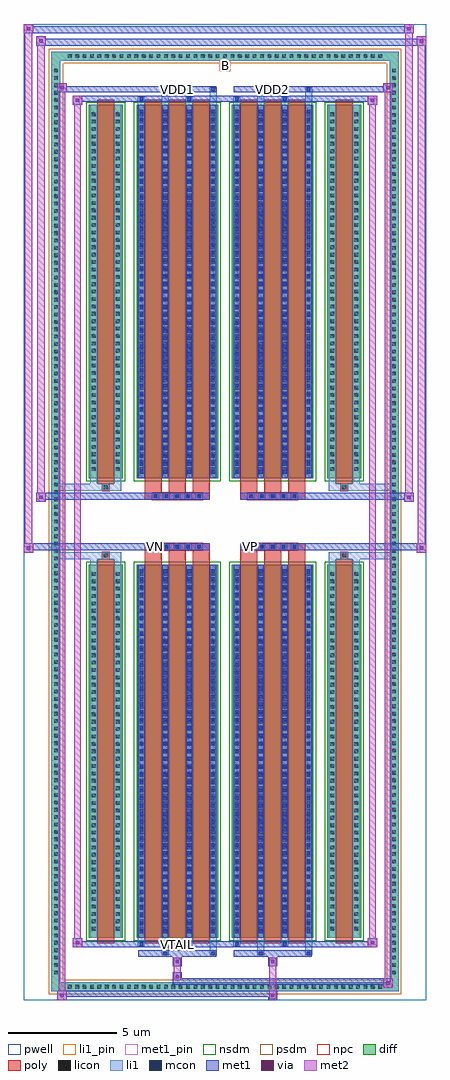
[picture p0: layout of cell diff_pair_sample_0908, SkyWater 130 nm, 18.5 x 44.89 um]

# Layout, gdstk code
import gdstk
lib = gdstk.Library(unit=1e-6, precision=5e-09)
def R(c, l, rs):  # rectangles x0, y0, x1, y1
    for r in rs: c.add(gdstk.rectangle(r[:2], r[2:], *l))
def A(c, l, x, y, w, h, nx, ny, dx, dy):  # array of equal rectangles
    R(c, l, [(x+i*dx, y+j*dy, x+i*dx+w, y+j*dy+h) for i in range(nx) for j in range(ny)])
def P(c, l, *ps):  # polygons
    for p in ps: c.add(gdstk.Polygon(p, *l))
pwell = (64, 44)
diff = (65, 20)
poly = (66, 20)
licon = (66, 44)
li1_pin = (67, 16)
li1 = (67, 20)
mcon = (67, 44)
met1_pin = (68, 16)
met1 = (68, 20)
via = (68, 44)
met2 = (69, 20)
nsdm = (93, 44)
psdm = (94, 20)
npc = (95, 20)

diff_pair_sample_0908 = lib.new_cell('diff_pair_sample_0908')
R(diff_pair_sample_0908, pwell, [(-9.25,-22.01,9.25,22.88), (-6.57,-20.2,-0.01,-0.8), (0.01,-20.2,6.57,-0.8), (-6.57,0.8,-0.01,20.2), (0.01,0.8,6.57,20.2)])
A(diff_pair_sample_0908, diff, -7.345, -21.61, 0.41, 0.41, 43, 2, 0.34, 42.81)
A(diff_pair_sample_0908, diff, -7.98, -20.945, 0.41, 0.41, 1, 123, 0, 0.34)
A(diff_pair_sample_0908, diff, 7.57, -20.945, 0.41, 0.41, 1, 123, 0, 0.34)
R(diff_pair_sample_0908, diff, [(-7.345,-21.61,7.345,-21.2), (-7.98,-20.945,-7.57,20.945), (7.57,-20.945,7.98,20.945), (-6.26,-19.155,-4.71,-1.985), (-4.07,-19.155,-0.32,-1.985), (0.32,-19.155,4.07,-1.985), (4.71,-19.155,6.26,-1.985), (-6.26,1.985,-4.71,19.155), (-4.07,1.985,-0.32,19.155), (0.32,1.985,4.07,19.155), (4.71,1.985,6.26,19.155), (-7.345,21.2,7.345,21.61)])
P(diff_pair_sample_0908, diff, [(7.98,21.61),(-7.98,21.61),(-7.98,-21.2),(-7.57,-21.2),(-7.57,21.2),(7.57,21.2),(7.57,-21.2),(-7.57,-21.2),(-7.98,-21.2),(-7.98,-21.61),(7.98,-21.61)])
A(diff_pair_sample_0908, poly, -3.68, -19.405, 0.77, 17.67, 3, 2, 1.1, 21.14)
A(diff_pair_sample_0908, poly, 0.71, -19.405, 0.77, 17.67, 3, 2, 1.1, 21.14)
A(diff_pair_sample_0908, poly, -3.68, -1.735, 0.77, 0.405, 3, 2, 1.1, 3.065)
A(diff_pair_sample_0908, poly, 0.71, -1.735, 0.77, 0.405, 3, 2, 1.1, 3.065)
A(diff_pair_sample_0908, poly, -3.36, -1.33, 0.33, 0.33, 5, 2, 0.5, 2.33)
A(diff_pair_sample_0908, poly, 1.03, -1.33, 0.33, 0.33, 5, 2, 0.5, 2.33)
R(diff_pair_sample_0908, poly, [(-5.87,-19.405,-5.1,-1.735), (5.1,-19.405,5.87,-1.735), (-5.65,-1.735,-5.32,-1.405), (-5.65,-1.735,-5.32,-1.405), (5.32,-1.735,5.65,-1.405), (5.32,-1.735,5.65,-1.405), (-3.68,-1.33,-0.71,-1), (0.71,-1.33,3.68,-1), (-3.68,1,-0.71,1.33), (0.71,1,3.68,1.33), (-5.65,1.405,-5.32,1.735), (-5.65,1.405,-5.32,1.735), (5.32,1.405,5.65,1.735), (5.32,1.405,5.65,1.735), (-5.87,1.735,-5.1,19.405), (5.1,1.735,5.87,19.405)])
A(diff_pair_sample_0908, licon, -7.225, -21.49, 0.17, 0.17, 43, 2, 0.34, 42.81)
A(diff_pair_sample_0908, licon, -7.86, -20.825, 0.17, 0.17, 1, 123, 0, 0.34)
A(diff_pair_sample_0908, licon, 7.69, -20.825, 0.17, 0.17, 1, 123, 0, 0.34)
A(diff_pair_sample_0908, licon, -6.12, -18.815, 0.17, 0.17, 1, 49, 0, 0.34)
A(diff_pair_sample_0908, licon, -5.02, -18.815, 0.17, 0.17, 1, 49, 0, 0.34)
A(diff_pair_sample_0908, licon, -3.93, -18.815, 0.17, 0.17, 4, 49, 1.1, 0.34)
A(diff_pair_sample_0908, licon, 0.46, -18.815, 0.17, 0.17, 4, 49, 1.1, 0.34)
A(diff_pair_sample_0908, licon, 4.85, -18.815, 0.17, 0.17, 1, 49, 0, 0.34)
A(diff_pair_sample_0908, licon, 5.95, -18.815, 0.17, 0.17, 1, 49, 0, 0.34)
A(diff_pair_sample_0908, licon, -3.28, -1.25, 0.17, 0.17, 5, 2, 0.5, 2.33)
A(diff_pair_sample_0908, licon, 1.11, -1.25, 0.17, 0.17, 5, 2, 0.5, 2.33)
A(diff_pair_sample_0908, licon, -6.12, 2.325, 0.17, 0.17, 1, 49, 0, 0.34)
A(diff_pair_sample_0908, licon, -5.02, 2.325, 0.17, 0.17, 1, 49, 0, 0.34)
A(diff_pair_sample_0908, licon, -3.93, 2.325, 0.17, 0.17, 4, 49, 1.1, 0.34)
A(diff_pair_sample_0908, licon, 0.46, 2.325, 0.17, 0.17, 4, 49, 1.1, 0.34)
A(diff_pair_sample_0908, licon, 4.85, 2.325, 0.17, 0.17, 1, 49, 0, 0.34)
A(diff_pair_sample_0908, licon, 5.95, 2.325, 0.17, 0.17, 1, 49, 0, 0.34)
R(diff_pair_sample_0908, licon, [(-5.57,-1.655,-5.4,-1.485), (5.4,-1.655,5.57,-1.485), (-5.57,1.485,-5.4,1.655), (5.4,1.485,5.57,1.655)])
R(diff_pair_sample_0908, li1_pin, [(-0.25,20.7,0.25,21.2)])
A(diff_pair_sample_0908, li1, -7.305, -21.57, 0.33, 0.33, 43, 2, 0.34, 42.81)
A(diff_pair_sample_0908, li1, -7.94, -20.905, 0.33, 0.33, 1, 123, 0, 0.34)
A(diff_pair_sample_0908, li1, 7.61, -20.905, 0.33, 0.33, 1, 123, 0, 0.34)
A(diff_pair_sample_0908, li1, -4.01, -19.155, 0.33, 17.17, 4, 2, 1.1, 21.14)
A(diff_pair_sample_0908, li1, 0.38, -19.155, 0.33, 17.17, 4, 2, 1.1, 21.14)
A(diff_pair_sample_0908, li1, -3.93, -18.935, 0.17, 0.17, 4, 47, 1.1, 0.36)
A(diff_pair_sample_0908, li1, -3.93, -18.935, 0.17, 16.73, 4, 2, 1.1, 21.14)
A(diff_pair_sample_0908, li1, 0.46, -18.935, 0.17, 0.17, 4, 47, 1.1, 0.36)
A(diff_pair_sample_0908, li1, 0.46, -18.935, 0.17, 16.73, 4, 2, 1.1, 21.14)
A(diff_pair_sample_0908, li1, -6.2, -18.895, 0.33, 0.33, 1, 49, 0, 0.34)
A(diff_pair_sample_0908, li1, -5.1, -18.895, 0.33, 0.33, 1, 49, 0, 0.34)
A(diff_pair_sample_0908, li1, -4.01, -18.895, 0.33, 0.33, 4, 49, 1.1, 0.34)
A(diff_pair_sample_0908, li1, 0.38, -18.895, 0.33, 0.33, 4, 49, 1.1, 0.34)
A(diff_pair_sample_0908, li1, 4.77, -18.895, 0.33, 0.33, 1, 49, 0, 0.34)
A(diff_pair_sample_0908, li1, 5.87, -18.895, 0.33, 0.33, 1, 49, 0, 0.34)
A(diff_pair_sample_0908, li1, -3.36, -1.33, 0.33, 0.33, 5, 2, 0.5, 2.33)
A(diff_pair_sample_0908, li1, 1.03, -1.33, 0.33, 0.33, 5, 2, 0.5, 2.33)
A(diff_pair_sample_0908, li1, -3.93, 2.205, 0.17, 0.17, 4, 47, 1.1, 0.36)
A(diff_pair_sample_0908, li1, 0.46, 2.205, 0.17, 0.17, 4, 47, 1.1, 0.36)
A(diff_pair_sample_0908, li1, -6.2, 2.245, 0.33, 0.33, 1, 49, 0, 0.34)
A(diff_pair_sample_0908, li1, -5.1, 2.245, 0.33, 0.33, 1, 49, 0, 0.34)
A(diff_pair_sample_0908, li1, -4.01, 2.245, 0.33, 0.33, 4, 49, 1.1, 0.34)
A(diff_pair_sample_0908, li1, 0.38, 2.245, 0.33, 0.33, 4, 49, 1.1, 0.34)
A(diff_pair_sample_0908, li1, 4.77, 2.245, 0.33, 0.33, 1, 49, 0, 0.34)
A(diff_pair_sample_0908, li1, 5.87, 2.245, 0.33, 0.33, 1, 49, 0, 0.34)
R(diff_pair_sample_0908, li1, [(-7.98,-21.61,-7.57,-21.2), (-7.98,-21.61,-7.57,-21.2), (-7.57,-21.61,7.57,-21.2), (7.57,-21.61,7.98,-21.2), (7.57,-21.61,7.98,-21.2), (-7.98,-21.2,-7.57,21.2), (7.57,-21.2,7.98,21.2), (-2.91,-19.96,-2.58,-19.155), (-2.83,-19.96,-2.66,-19.79), (-0.71,-19.96,-0.38,-19.155), (-0.63,-19.96,-0.46,-19.79), (1.48,-19.96,1.81,-19.155), (1.56,-19.96,1.73,-19.79), (3.68,-19.96,4.01,-19.155), (3.76,-19.96,3.93,-19.79), (-4.01,-19.53,-3.68,-19.155), (-3.93,-19.53,-3.76,-19.36), (-1.81,-19.53,-1.48,-19.155), (-1.73,-19.53,-1.56,-19.36), (0.38,-19.53,0.71,-19.155), (0.46,-19.53,0.63,-19.36), (2.58,-19.53,2.91,-19.155), (2.66,-19.53,2.83,-19.36), (-6.2,-19.155,-5.87,-1.985), (-5.1,-19.155,-4.77,-1.985), (4.77,-19.155,5.1,-1.985), (5.87,-19.155,6.2,-1.985), (-6.2,-1.985,-5.87,-1.405), (-5.1,-1.985,-4.77,-1.405), (4.77,-1.985,5.1,-1.405), (5.87,-1.985,6.2,-1.405), (-7.98,-1.735,-5.65,-1.405), (-6.2,-1.735,-5.65,-1.405), (-5.65,-1.735,-5.32,-1.405), (-5.32,-1.735,-4.77,-1.405), (4.77,-1.735,5.32,-1.405), (5.32,-1.735,5.65,-1.405), (5.32,-1.735,7.98,-1.405), (5.65,-1.735,6.2,-1.405), (-7.98,1.405,-5.65,1.735), (-6.2,1.405,-5.65,1.735), (-6.2,1.405,-5.87,1.985), (-5.65,1.405,-5.32,1.735), (-5.32,1.405,-4.77,1.735), (-5.1,1.405,-4.77,1.985), (4.77,1.405,5.32,1.735), (4.77,1.405,5.1,1.985), (5.32,1.405,5.65,1.735), (5.32,1.405,7.98,1.735), (5.65,1.405,6.2,1.735), (5.87,1.405,6.2,1.985), (-6.2,1.985,-5.87,19.155), (-5.1,1.985,-4.77,19.155), (4.77,1.985,5.1,19.155), (5.87,1.985,6.2,19.155), (-4.01,19.155,-3.68,19.53), (-2.91,19.155,-2.58,19.96), (-1.81,19.155,-1.48,19.53), (-0.71,19.155,-0.38,19.96), (0.38,19.155,0.71,19.53), (1.48,19.155,1.81,19.96), (2.58,19.155,2.91,19.53), (3.68,19.155,4.01,19.96), (-3.93,19.36,-3.76,19.53), (-1.73,19.36,-1.56,19.53), (0.46,19.36,0.63,19.53), (2.66,19.36,2.83,19.53), (-2.83,19.79,-2.66,19.96), (-0.63,19.79,-0.46,19.96), (1.56,19.79,1.73,19.96), (3.76,19.79,3.93,19.96), (-7.98,21.2,-7.57,21.61), (-7.98,21.2,-7.57,21.61), (-7.57,21.2,7.57,21.61), (7.57,21.2,7.98,21.61), (7.57,21.2,7.98,21.61)])
A(diff_pair_sample_0908, mcon, -3.93, -18.935, 0.17, 0.17, 4, 47, 1.1, 0.36)
A(diff_pair_sample_0908, mcon, 0.46, -18.935, 0.17, 0.17, 4, 47, 1.1, 0.36)
A(diff_pair_sample_0908, mcon, -3.28, -1.25, 0.17, 0.17, 5, 2, 0.5, 2.33)
A(diff_pair_sample_0908, mcon, 1.11, -1.25, 0.17, 0.17, 5, 2, 0.5, 2.33)
A(diff_pair_sample_0908, mcon, -3.93, 2.205, 0.17, 0.17, 4, 47, 1.1, 0.36)
A(diff_pair_sample_0908, mcon, 0.46, 2.205, 0.17, 0.17, 4, 47, 1.1, 0.36)
R(diff_pair_sample_0908, mcon, [(-2.83,-19.96,-2.66,-19.79), (-0.63,-19.96,-0.46,-19.79), (1.56,-19.96,1.73,-19.79), (3.76,-19.96,3.93,-19.79), (-3.93,-19.53,-3.76,-19.36), (-1.73,-19.53,-1.56,-19.36), (0.46,-19.53,0.63,-19.36), (2.66,-19.53,2.83,-19.36), (-3.93,19.36,-3.76,19.53), (-1.73,19.36,-1.56,19.53), (0.46,19.36,0.63,19.53), (2.66,19.36,2.83,19.53), (-2.83,19.79,-2.66,19.96), (-0.63,19.79,-0.46,19.96), (1.56,19.79,1.73,19.96), (3.76,19.79,3.93,19.96)])
R(diff_pair_sample_0908, met1_pin, [(-2.33,-19.57,-2.06,-19.3), (-3.33,-1.29,-3.06,-1.02), (1.06,-1.29,1.33,-1.02), (-2.33,19.75,-2.06,20.02), (2.06,19.75,2.33,20.02)])
A(diff_pair_sample_0908, met1, -3.99, -19.155, 0.29, 17.17, 4, 2, 1.1, 21.14)
A(diff_pair_sample_0908, met1, 0.4, -19.155, 0.29, 17.17, 4, 2, 1.1, 21.14)
A(diff_pair_sample_0908, met1, -3.99, -18.995, 0.29, 0.29, 4, 47, 1.1, 0.36)
A(diff_pair_sample_0908, met1, 0.4, -18.995, 0.29, 0.29, 4, 47, 1.1, 0.36)
A(diff_pair_sample_0908, met1, -3.34, -1.31, 0.29, 0.29, 5, 2, 0.5, 2.33)
A(diff_pair_sample_0908, met1, 1.05, -1.31, 0.29, 0.29, 5, 2, 0.5, 2.33)
A(diff_pair_sample_0908, met1, -3.99, 2.145, 0.29, 0.29, 4, 47, 1.1, 0.36)
A(diff_pair_sample_0908, met1, 0.4, 2.145, 0.29, 0.29, 4, 47, 1.1, 0.36)
R(diff_pair_sample_0908, met1, [(-7.71,-22.01,-7.28,-21.58), (1.98,-22.01,2.41,-21.58), (-7.71,-21.87,2.41,-21.58), (7.28,-21.44,7.71,-21.01), (-2.41,-21.3,7.71,-21.01), (-2.41,-21.16,-1.98,-20.73), (-2.41,-20.45,-1.98,-20.02), (1.98,-20.45,2.41,-20.02), (-3.99,-20.02,-0.4,-19.73), (-2.89,-20.02,-2.6,-19.73), (-0.69,-20.02,-0.4,-19.73), (0.4,-20.02,3.99,-19.73), (1.5,-20.02,1.79,-19.73), (3.7,-20.02,3.99,-19.73), (-7,-19.59,-6.57,-19.16), (-7,-19.59,-3.99,-19.3), (-3.99,-19.59,-3.7,-19.3), (-3.99,-19.59,-0.4,-19.3), (-1.79,-19.59,-1.5,-19.3), (-0.4,-19.59,0.4,-19.3), (0.4,-19.59,0.69,-19.3), (0.4,-19.59,3.99,-19.3), (2.6,-19.59,2.89,-19.3), (3.99,-19.59,7,-19.3), (6.57,-19.59,7,-19.16), (-9.25,-1.43,-8.82,-1), (8.82,-1.43,9.25,-1), (-9.25,-1.33,-0.71,-1), (-3.68,-1.33,-0.71,-1), (0.71,-1.33,3.68,-1), (0.71,-1.33,9.25,-1), (-8.68,0.9,-8.25,1.33), (8.25,0.9,8.68,1.33), (-8.68,1,-3.68,1.33), (-3.68,1,-0.71,1.33), (0.71,1,3.68,1.33), (3.68,1,8.68,1.33), (-7,19.16,-6.57,19.59), (6.57,19.16,7,19.59), (-7,19.3,-3.99,19.59), (-3.99,19.3,-3.7,19.59), (-3.99,19.3,-0.4,19.59), (-1.79,19.3,-1.5,19.59), (-0.4,19.3,0.4,19.59), (0.4,19.3,0.69,19.59), (0.4,19.3,3.99,19.59), (2.6,19.3,2.89,19.59), (3.99,19.3,7,19.59), (-7.71,19.73,-7.28,20.16), (-7.71,19.73,-3.99,20.02), (-3.99,19.73,-0.4,20.02), (-2.89,19.73,-2.6,20.02), (-0.69,19.73,-0.4,20.02), (0.4,19.73,3.99,20.02), (1.5,19.73,1.79,20.02), (3.7,19.73,3.99,20.02), (3.99,19.73,7.71,20.02), (7.28,19.73,7.71,20.16), (-8.68,21.88,-8.25,22.31), (-8.68,21.88,-6.57,22.21), (-6.57,21.88,6.57,22.21), (6.57,21.88,9.25,22.21), (8.82,21.88,9.25,22.31), (-9.25,22.45,-8.82,22.88), (-9.25,22.45,-6.57,22.78), (-6.57,22.45,6.57,22.78), (6.57,22.45,8.68,22.78), (8.25,22.45,8.68,22.88)])
R(diff_pair_sample_0908, via, [(-7.57,-21.87,-7.42,-21.72), (2.12,-21.87,2.27,-21.72), (7.42,-21.3,7.57,-21.15), (-2.27,-21.02,-2.12,-20.87), (-2.27,-20.31,-2.12,-20.16), (2.12,-20.31,2.27,-20.16), (-6.86,-19.45,-6.71,-19.3), (6.71,-19.45,6.86,-19.3), (-9.11,-1.29,-8.96,-1.14), (8.96,-1.29,9.11,-1.14), (-8.54,1.04,-8.39,1.19), (8.39,1.04,8.54,1.19), (-6.86,19.3,-6.71,19.45), (6.71,19.3,6.86,19.45), (-7.57,19.87,-7.42,20.02), (7.42,19.87,7.57,20.02), (-8.54,22.02,-8.39,22.17), (8.96,22.02,9.11,22.17), (-9.11,22.59,-8.96,22.74), (8.39,22.59,8.54,22.74)])
R(diff_pair_sample_0908, met2, [(-7.71,-22.01,-7.28,-21.58), (-7.64,-22.01,-7.35,20.16), (-7.35,-22.01,-7.28,-21.58), (-7.66,-21.96,-7.33,-21.63), (2.03,-21.96,2.36,-21.63), (2.03,-21.63,2.36,-20.4), (7.28,-21.44,7.71,-21.01), (7.35,-21.44,7.64,20.16), (7.64,-21.44,7.71,-21.01), (7.33,-21.39,7.66,-21.06), (-2.36,-21.11,-2.03,-20.78), (-2.36,-20.78,-2.03,-20.4), (-2.36,-20.4,-2.03,-20.07), (2.03,-20.4,2.36,-20.07), (-7,-19.59,-6.57,-19.16), (-6.93,-19.59,-6.64,19.59), (-6.64,-19.59,-6.57,-19.16), (6.57,-19.59,7,-19.16), (6.64,-19.59,6.93,19.59), (6.93,-19.59,7,-19.16), (-6.95,-19.54,-6.62,-19.21), (6.62,-19.54,6.95,-19.21), (-9.25,-1.43,-8.82,-1), (-9.2,-1.43,-8.87,22.88), (-8.87,-1.43,-8.82,-1), (8.82,-1.43,9.25,-1), (8.87,-1.43,9.2,22.31), (9.2,-1.43,9.25,-1), (-9.2,-1.38,-8.87,-1.05), (8.87,-1.38,9.2,-1.05), (-8.68,0.9,-8.25,1.33), (-8.63,0.9,-8.3,22.31), (-8.3,0.9,-8.25,1.33), (8.25,0.9,8.68,1.33), (8.3,0.9,8.63,22.88), (8.63,0.9,8.68,1.33), (-8.63,0.95,-8.3,1.28), (8.3,0.95,8.63,1.28), (-7,19.16,-6.57,19.59), (-6.64,19.16,-6.57,19.59), (6.57,19.16,7,19.59), (6.93,19.16,7,19.59), (-6.95,19.21,-6.62,19.54), (6.62,19.21,6.95,19.54), (-7.71,19.73,-7.28,20.16), (-7.35,19.73,-7.28,20.16), (7.28,19.73,7.71,20.16), (7.64,19.73,7.71,20.16), (-7.66,19.78,-7.33,20.11), (7.33,19.78,7.66,20.11), (-8.68,21.88,-8.25,22.31), (-8.3,21.88,-8.25,22.31), (8.82,21.88,9.25,22.31), (9.2,21.88,9.25,22.31), (-8.63,21.93,-8.3,22.26), (8.87,21.93,9.2,22.26), (-9.25,22.45,-8.82,22.88), (-8.87,22.45,-8.82,22.88), (8.25,22.45,8.68,22.88), (8.63,22.45,8.68,22.88), (-9.2,22.5,-8.87,22.83), (8.3,22.5,8.63,22.83)])
R(diff_pair_sample_0908, nsdm, [(-6.39,-19.285,-4.58,-1.855), (-4.2,-19.285,-0.19,-1.855), (0.19,-19.285,4.2,-1.855), (4.58,-19.285,6.39,-1.855), (-6.39,1.855,-4.58,19.285), (-4.2,1.855,-0.19,19.285), (0.19,1.855,4.2,19.285), (4.58,1.855,6.39,19.285)])
P(diff_pair_sample_0908, psdm, [(8.11,21.74),(-8.11,21.74),(-8.11,-21.07),(-7.44,-21.07),(-7.44,21.07),(7.44,21.07),(7.44,-21.07),(-7.44,-21.07),(-8.11,-21.07),(-8.11,-21.74),(8.11,-21.74)])
A(diff_pair_sample_0908, npc, -3.38, -1.35, 0.37, 0.37, 5, 2, 0.5, 2.33)
A(diff_pair_sample_0908, npc, 1.01, -1.35, 0.37, 0.37, 5, 2, 0.5, 2.33)
R(diff_pair_sample_0908, npc, [(-5.67,-1.755,-5.3,-1.385), (5.3,-1.755,5.67,-1.385), (-3.38,-1.35,-2.51,-0.98), (-3.38,-1.35,-2.51,-0.98), (-2.88,-1.35,-2.01,-0.98), (-2.88,-1.35,-2.01,-0.98), (-2.38,-1.35,-1.51,-0.98), (-2.38,-1.35,-1.51,-0.98), (-1.88,-1.35,-1.01,-0.98), (-1.88,-1.35,-1.01,-0.98), (1.01,-1.35,1.88,-0.98), (1.01,-1.35,1.88,-0.98), (1.51,-1.35,2.38,-0.98), (1.51,-1.35,2.38,-0.98), (2.01,-1.35,2.88,-0.98), (2.01,-1.35,2.88,-0.98), (2.51,-1.35,3.38,-0.98), (2.51,-1.35,3.38,-0.98), (-3.38,0.98,-2.51,1.35), (-3.38,0.98,-2.51,1.35), (-2.88,0.98,-2.01,1.35), (-2.88,0.98,-2.01,1.35), (-2.38,0.98,-1.51,1.35), (-2.38,0.98,-1.51,1.35), (-1.88,0.98,-1.01,1.35), (-1.88,0.98,-1.01,1.35), (1.01,0.98,1.88,1.35), (1.01,0.98,1.88,1.35), (1.51,0.98,2.38,1.35), (1.51,0.98,2.38,1.35), (2.01,0.98,2.88,1.35), (2.01,0.98,2.88,1.35), (2.51,0.98,3.38,1.35), (2.51,0.98,3.38,1.35), (-5.67,1.385,-5.3,1.755), (5.3,1.385,5.67,1.755)])
diff_pair_sample_0908.add(gdstk.Label('VTAIL', (-2.195,-19.435), layer=68, texttype=5))
diff_pair_sample_0908.add(gdstk.Label('VN', (-3.195,-1.155), layer=68, texttype=5))
diff_pair_sample_0908.add(gdstk.Label('VP', (1.195,-1.155), layer=68, texttype=5))
diff_pair_sample_0908.add(gdstk.Label('B', (0,20.95), layer=67, texttype=5))
diff_pair_sample_0908.add(gdstk.Label('VDD2', (2.195,19.885), layer=68, texttype=5))
diff_pair_sample_0908.add(gdstk.Label('VDD1', (-2.195,19.885), layer=68, texttype=5))

lib.write_gds('diff_pair_sample_0908.gds')
